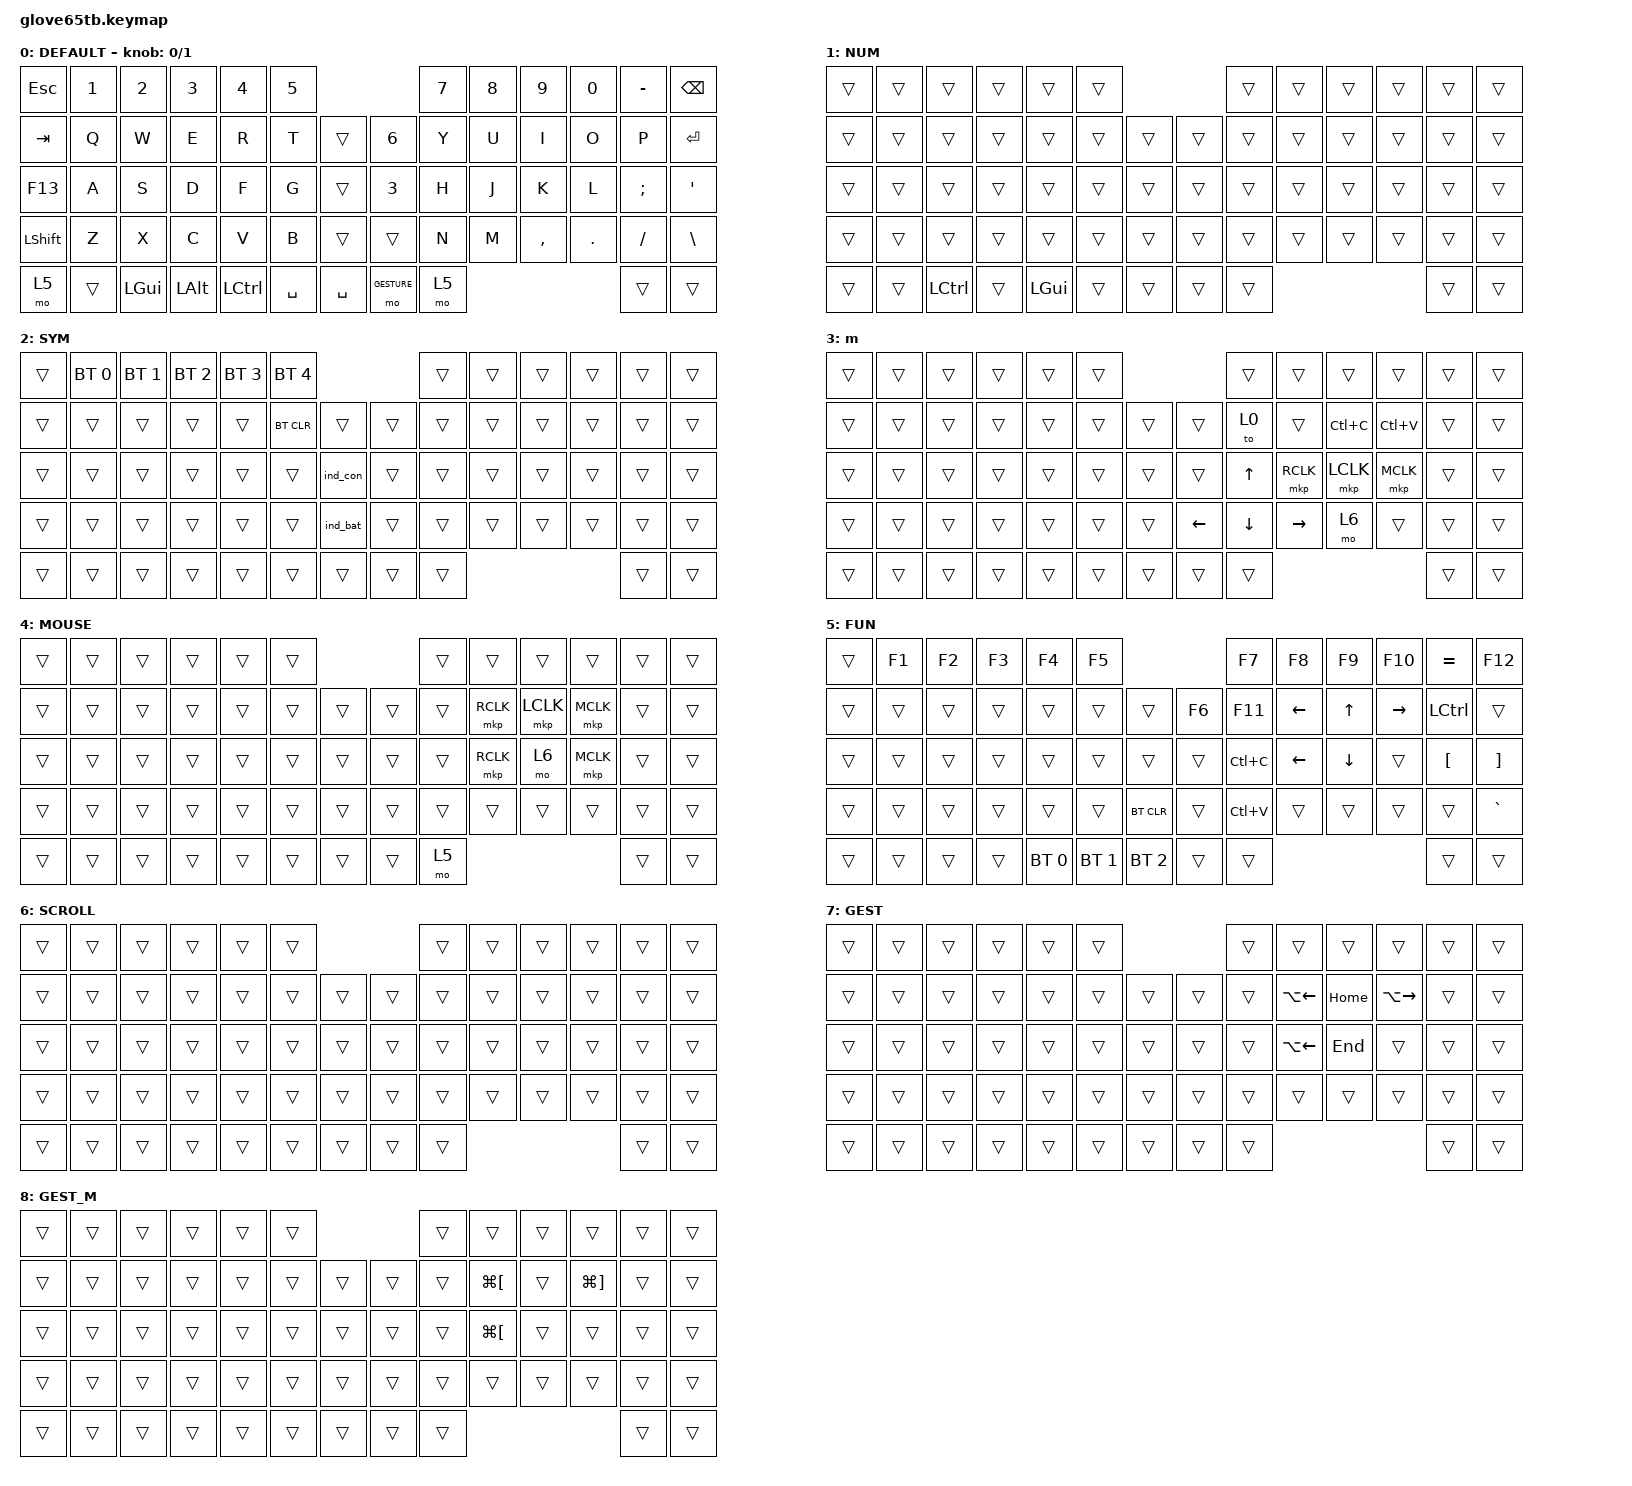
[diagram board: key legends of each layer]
#define ZMK_POINTING_DEFAULT_SCRL_VAL 150

#include <behaviors/rgbled_widget.dtsi>
#include <dt-bindings/zmk/input_transform.h>
#include <input/processors.dtsi>
#include <zephyr/dt-bindings/input/input-event-codes.h>
#include <behaviors.dtsi>
#include <dt-bindings/zmk/bt.h>
#include <dt-bindings/zmk/keys.h>
#include <dt-bindings/zmk/pointing.h>

// Layer Numbering

#define DEFAULT 0
#define NUM     1
#define SYM     2
#define M_LAYER 3
#define MOUSE   4
#define FUN     5
#define SCROLL  6
#define GESTURE 7
#define GEST_MAC 8

&mmv {
    delay-ms = <20>;
    trigger-period-ms = <5>;
    time-to-max-speed-ms = <100>;
    acceleration-exponent = <2>;
};

&msc {
    delay-ms = <3>;
    trigger-period-ms = <3>;
    time-to-max-speed-ms = <100>;
    acceleration-exponent = <0>;
};

/ {
    input_processors {
        zip_wheel_scaler: zip_wheel_scaler {
            compatible = "zmk,input-processor-scaler";
            #input-processor-cells = <2>;
            type = <INPUT_EV_REL>;
            codes = <INPUT_REL_WHEEL>;
            track-remainders;
        };
    };
};

/ {
    combos {
        compatible = "zmk,combos";

        lock {
            bindings = <&kp RG(L)>;
            key-positions = <6 19>;
        };

        lock-m {
            bindings = <&kp LG(LC(Q))>;
            key-positions = <19 6 7>;
        };
    };

    conditional_layers {
        compatible = "zmk,conditional-layers";

        gesture_mac {
            if-layers = <NUM GESTURE>;
            then-layer = <GEST_MAC>;
        };
    };

    behaviors {
        sensor_rotate_kp: sensor_rotate_kp {
            compatible = "zmk,behavior-sensor-rotate-var";
            #sensor-binding-cells = <2>;
            bindings = <&kp>, <&kp>;
        };

        mouse_wheel_scroll: mouse_wheel_scroll {
            compatible = "zmk,behavior-sensor-rotate-var";
            #sensor-binding-cells = <2>;
            bindings = <&msc>, <&msc>;

            tap-ms = <20>;
        };

        bt_encoder: bt_encoder {
            compatible = "zmk,behavior-sensor-rotate";
            label = "BT_ENCODER";
            #sensor-binding-cells = <0>;
            bindings = <&bt BT_NXT>, <&bt BT_PRV>;
        };

        sensor_rotate_to: sensor_rotate_to {
            compatible = "zmk,behavior-sensor-rotate-var";
            label = "SENSOR_ROTATE_TO";
            #sensor-binding-cells = <2>;
            bindings = <&to>, <&to>;
        };
    };

    keymap {
        compatible = "zmk,keymap";

        default_layer {
            label = "DEFAULT";
            bindings = <
&kp ESC         &kp N1  &kp N2        &kp N3        &kp N4     &kp N5                        &kp N7  &kp N8  &kp N9     &kp N0   &kp MINUS  &kp BSPC
&kp TAB         &kp Q   &kp W         &kp E         &kp R      &kp T      &trans     &kp N6  &kp Y   &kp U   &kp I      &kp O    &kp P      &kp ENTER
&kp F13         &kp A   &kp S         &kp D         &kp F      &kp G      &trans     &kp N3  &kp H   &kp J   &kp K      &kp L    &kp SEMI   &kp SINGLE_QUOTE
&kp LEFT_SHIFT  &kp Z   &kp X         &kp C         &kp V      &kp B      &trans     &trans  &kp N   &kp M   &kp COMMA  &kp DOT  &kp FSLH   &kp BACKSLASH
&mo 5           &trans  &kp LEFT_GUI  &kp LEFT_ALT  &kp LCTRL  &kp SPACE  &kp SPACE  &mo GESTURE &mo 5                           &trans     &trans
            >;

            sensor-bindings = <&sensor_rotate_to 0 1>;
        };

        number_layer {
            label = "NUM";
            bindings = <
&trans  &trans  &trans     &trans  &trans        &trans                  &trans  &trans  &trans  &trans  &trans  &trans
&trans  &trans  &trans     &trans  &trans        &trans  &trans  &trans  &trans  &trans  &trans  &trans  &trans  &trans
&trans  &trans  &trans     &trans  &trans        &trans  &trans  &trans  &trans  &trans  &trans  &trans  &trans  &trans
&trans  &trans  &trans     &trans  &trans        &trans  &trans  &trans  &trans  &trans  &trans  &trans  &trans  &trans
&trans  &trans  &kp LCTRL  &trans  &kp LEFT_GUI  &trans  &trans  &trans  &trans                          &trans  &trans
            >;
        };

        symbol_layer {
            label = "SYM";
            bindings = <
&trans  &bt BT_SEL 0  &bt BT_SEL 1  &bt BT_SEL 2  &bt BT_SEL 3  &bt BT_SEL 4                    &trans  &trans  &trans  &trans  &trans  &trans
&trans  &trans        &trans        &trans        &trans        &bt BT_CLR    &trans    &trans  &trans  &trans  &trans  &trans  &trans  &trans
&trans  &trans        &trans        &trans        &trans        &trans        &ind_con  &trans  &trans  &trans  &trans  &trans  &trans  &trans
&trans  &trans        &trans        &trans        &trans        &trans        &ind_bat  &trans  &trans  &trans  &trans  &trans  &trans  &trans
&trans  &trans        &trans        &trans        &trans        &trans        &trans    &trans  &trans                          &trans  &trans
            >;
        };

        m {
            bindings = <
&trans  &trans  &trans  &trans  &trans  &trans                    &trans    &trans     &trans     &trans     &trans  &trans
&trans  &trans  &trans  &trans  &trans  &trans  &trans  &trans    &to 0     &trans     &kp LC(C)  &kp LC(V)  &trans  &trans
&trans  &trans  &trans  &trans  &trans  &trans  &trans  &trans    &kp UP    &mkp RCLK  &mkp LCLK  &mkp MCLK  &trans  &trans
&trans  &trans  &trans  &trans  &trans  &trans  &trans  &kp LEFT  &kp DOWN  &kp RIGHT  &mo 6      &trans     &trans  &trans
&trans  &trans  &trans  &trans  &trans  &trans  &trans  &trans    &trans                                     &trans  &trans
            >;
        };

        mouse_layer {
            label = "MOUSE";
            bindings = <
&trans  &trans  &trans  &trans  &trans  &trans                  &trans  &trans     &trans     &trans     &trans  &trans
&trans  &trans  &trans  &trans  &trans  &trans  &trans  &trans  &trans  &mkp RCLK  &mkp LCLK  &mkp MCLK  &trans  &trans
&trans  &trans  &trans  &trans  &trans  &trans  &trans  &trans  &trans  &mkp RCLK  &mo 6      &mkp MCLK  &trans  &trans
&trans  &trans  &trans  &trans  &trans  &trans  &trans  &trans  &trans  &trans     &trans     &trans     &trans  &trans
&trans  &trans  &trans  &trans  &trans  &trans  &trans  &trans  &mo 5                                    &trans  &trans
            >;
        };

        function_layer {
            label = "FUN";
            bindings = <
&trans  &kp F1  &kp F2  &kp F3  &kp F4        &kp F5                              &kp F7     &kp F8    &kp F9    &kp F10    &kp EQUAL         &kp F12
&trans  &trans  &trans  &trans  &trans        &trans        &trans        &kp F6  &kp F11    &kp LEFT  &kp UP    &kp RIGHT  &kp LEFT_CONTROL  &trans
&trans  &trans  &trans  &trans  &trans        &trans        &trans        &trans  &kp LC(C)  &kp LEFT  &kp DOWN  &trans     &kp LEFT_BRACKET  &kp RIGHT_BRACKET
&trans  &trans  &trans  &trans  &trans        &trans        &bt BT_CLR    &trans  &kp LC(V)  &trans    &trans    &trans     &trans            &kp GRAVE
&trans  &trans  &trans  &trans  &bt BT_SEL 0  &bt BT_SEL 1  &bt BT_SEL 2  &trans  &trans                                    &trans            &trans
            >;
        };

        scroll_layer {
            label = "SCROLL";
            bindings = <
&trans  &trans  &trans  &trans  &trans  &trans                  &trans  &trans  &trans  &trans  &trans  &trans
&trans  &trans  &trans  &trans  &trans  &trans  &trans  &trans  &trans  &trans  &trans  &trans  &trans  &trans
&trans  &trans  &trans  &trans  &trans  &trans  &trans  &trans  &trans  &trans  &trans  &trans  &trans  &trans
&trans  &trans  &trans  &trans  &trans  &trans  &trans  &trans  &trans  &trans  &trans  &trans  &trans  &trans
&trans  &trans  &trans  &trans  &trans  &trans  &trans  &trans  &trans                          &trans  &trans
            >;
        };

        gesture_layer {
            label = "GEST";
            bindings = <
&trans  &trans  &trans  &trans  &trans  &trans                          &trans        &trans    &trans         &trans  &trans  &trans
&trans  &trans  &trans  &trans  &trans  &trans  &trans  &trans  &trans  &kp LA(LEFT)  &kp HOME  &kp LA(RIGHT)  &trans  &trans
&trans  &trans  &trans  &trans  &trans  &trans  &trans  &trans  &trans  &kp LA(LEFT)  &kp END   &trans         &trans  &trans
&trans  &trans  &trans  &trans  &trans  &trans  &trans  &trans  &trans  &trans        &trans    &trans         &trans  &trans
&trans  &trans  &trans  &trans  &trans  &trans  &trans  &trans  &trans                                         &trans  &trans
            >;
        };

        gesture_mac_layer {
            label = "GEST_M";

            // 左右だけ Cmd 系。上下は &trans で GESTURE の HOME/END に落とす
            bindings = <
&trans  &trans  &trans  &trans  &trans  &trans                          &trans        &trans  &trans        &trans  &trans  &trans
&trans  &trans  &trans  &trans  &trans  &trans  &trans  &trans  &trans  &kp LG(LBKT)  &trans  &kp LG(RBKT)  &trans  &trans
&trans  &trans  &trans  &trans  &trans  &trans  &trans  &trans  &trans  &kp LG(LBKT)  &trans  &trans        &trans  &trans
&trans  &trans  &trans  &trans  &trans  &trans  &trans  &trans  &trans  &trans        &trans  &trans        &trans  &trans
&trans  &trans  &trans  &trans  &trans  &trans  &trans  &trans  &trans                                      &trans  &trans
            >;
        };
    };
};
